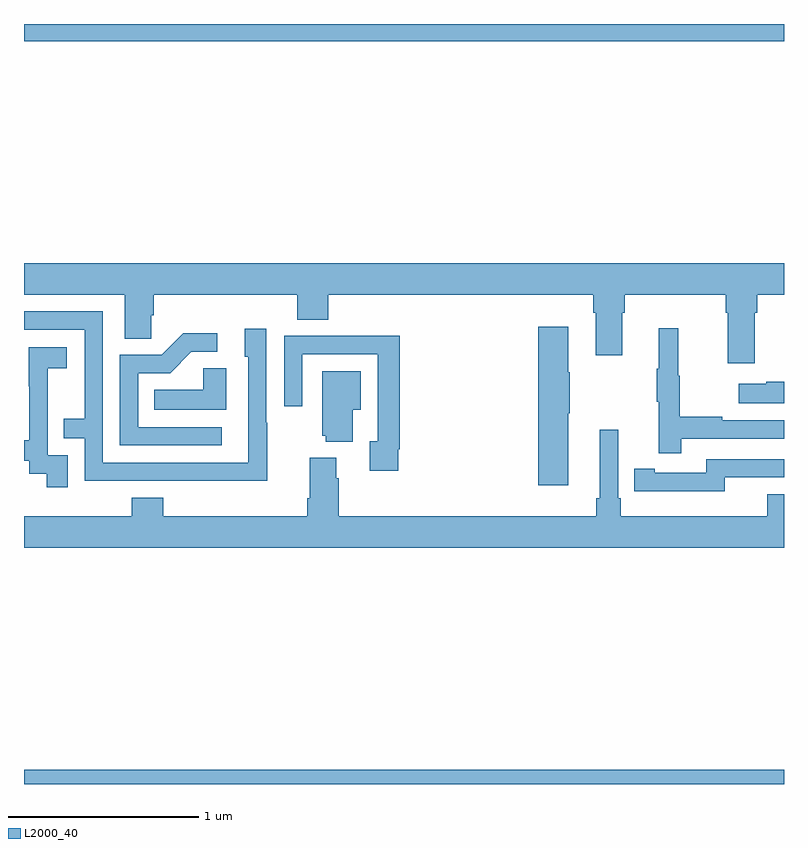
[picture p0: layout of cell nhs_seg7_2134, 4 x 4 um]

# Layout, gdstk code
import gdstk
lib = gdstk.Library(unit=1e-6, precision=1e-09)
def R(c, l, rs):  # rectangles x0, y0, x1, y1
    for r in rs: c.add(gdstk.rectangle(r[:2], r[2:], *l))
def P(c, l, *ps):  # polygons
    for p in ps: c.add(gdstk.Polygon(p, *l))
L2000_40 = (2000, 40)

nhs_seg7_2134 = lib.new_cell('nhs_seg7_2134')
R(nhs_seg7_2134, L2000_40, [(251,1038,255,1038.076), (251,1041.908,255,1042)])
P(nhs_seg7_2134, L2000_40, [(254.845,1040.48),(254.858,1040.48),(254.858,1040.576),(255,1040.576),(255,1040.74),(251,1040.74),(251,1040.576),(251.531,1040.576),(251.531,1040.344),(251.67,1040.344),(251.67,1040.467),(251.684,1040.467),(251.684,1040.576),(252.437,1040.576),(252.437,1040.443),(252.602,1040.443),(252.602,1040.576),(253.997,1040.576),(253.997,1040.48),(254.009,1040.48),(254.009,1040.256),(254.149,1040.256),(254.149,1040.48),(254.162,1040.48),(254.162,1040.576),(254.693,1040.576),(254.693,1040.48),(254.705,1040.48),(254.705,1040.214),(254.845,1040.214)],
  [(252.279,1039.901),(252.276,1039.901),(252.276,1040.395),(252.161,1040.395),(252.161,1040.25),(252.18,1040.25),(252.18,1039.692),(251.415,1039.692),(251.415,1040.487),(251,1040.487),(251,1040.391),(251.319,1040.391),(251.319,1039.922),(251.209,1039.922),(251.209,1039.821),(251.319,1039.821),(251.319,1039.596),(251.815,1039.596),(251.815,1039.595),(252.279,1039.595)],
  [(253.864,1039.951),(253.872,1039.951),(253.872,1040.168),(253.864,1040.168),(253.864,1040.407),(253.706,1040.407),(253.706,1039.572),(253.864,1039.572)],
  [(254.459,1039.818),(255,1039.818),(255,1039.914),(254.675,1039.914),(254.675,1039.934),(254.452,1039.934),(254.452,1040.148),(254.444,1040.148),(254.444,1040.398),(254.342,1040.398),(254.342,1040.185),(254.331,1040.185),(254.331,1040.011),(254.342,1040.011),(254.342,1039.74),(254.459,1039.74)],
  [(252.04,1039.878),(251.601,1039.878),(251.601,1040.163),(251.77,1040.163),(251.881,1040.274),(252.016,1040.274),(252.016,1040.372),(251.837,1040.372),(251.724,1040.259),(251.505,1040.259),(251.505,1039.782),(252.04,1039.782)],
  [(252.97,1039.762),(252.977,1039.762),(252.977,1040.36),(252.685,1040.36),(252.685,1040.358),(252.369,1040.358),(252.369,1039.989),(252.465,1039.989),(252.465,1040.262),(252.861,1040.262),(252.861,1039.805),(252.821,1039.805),(252.821,1039.65),(252.97,1039.65)],
  [(251.229,1039.731),(251.124,1039.731),(251.124,1039.961),(251.126,1039.961),(251.126,1040.189),(251.224,1040.189),(251.224,1040.299),(251.026,1040.299),(251.026,1040.093),(251.027,1040.093),(251.027,1039.81),(251,1039.81),(251,1039.701),(251.028,1039.701),(251.028,1039.632),(251.121,1039.632),(251.121,1039.563),(251.229,1039.563)],
  [(252.064,1040.189),(251.943,1040.189),(251.943,1040.074),(251.686,1040.074),(251.686,1039.97),(252.064,1039.97)],
  [(252.73,1039.97),(252.772,1039.97),(252.772,1040.173),(252.569,1040.173),(252.569,1039.833),(252.587,1039.833),(252.587,1039.802),(252.73,1039.802)],
  [(255,1040.117),(254.906,1040.117),(254.906,1040.107),(254.763,1040.107),(254.763,1040.003),(255,1040.003)],
  [(255,1039.525),(254.912,1039.525),(254.912,1039.408),(254.141,1039.408),(254.141,1039.504),(254.127,1039.504),(254.127,1039.864),(254.03,1039.864),(254.03,1039.504),(254.011,1039.504),(254.011,1039.408),(252.656,1039.408),(252.656,1039.61),(252.643,1039.61),(252.643,1039.717),(252.503,1039.717),(252.503,1039.504),(252.491,1039.504),(252.491,1039.408),(251.732,1039.408),(251.732,1039.507),(251.567,1039.507),(251.567,1039.408),(251,1039.408),(251,1039.244),(255,1039.244)],
  [(254.688,1039.614),(255,1039.614),(255,1039.71),(254.592,1039.71),(254.592,1039.638),(254.32,1039.638),(254.32,1039.658),(254.212,1039.658),(254.212,1039.542),(254.32,1039.542),(254.32,1039.541),(254.688,1039.541)])

lib.write_gds('nhs_seg7_2134.gds')
